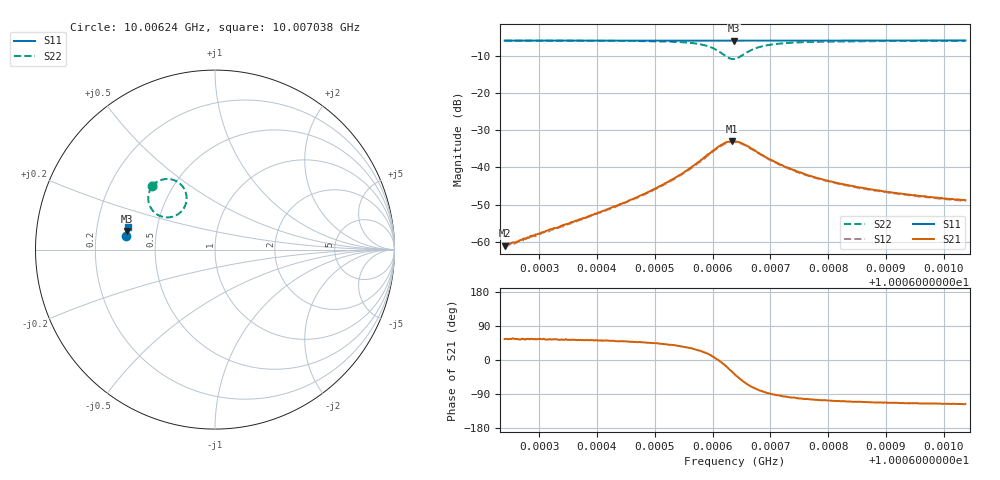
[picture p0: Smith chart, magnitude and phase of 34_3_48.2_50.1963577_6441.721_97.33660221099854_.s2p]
#  HZ  S  RI  R  50.00
! Rohde & Schwarz Vector Network Analyzer
! Rohde-Schwarz,ZNB20-2Port,1311601062101988,3.16
! Created: UTC 3/20/2024, 11:37:35 AM
! freq[Hz]  re:S11  im:S11  re:S21  im:S21  re:S12  im:S12  re:S22  im:S22
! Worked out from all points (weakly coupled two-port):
!   401 points, 10.00624 GHz to 10.007038 GHz, reference 50 ohm
!   highest |S21| = -32.98 dB at 10.006633 GHz (marker M1); lowest = -61.0 dB at 10.00624 GHz (marker M2)
!   lowest |S11| = -6.0 dB at 10.006637 GHz (marker M3), VSWR 3.00, Z = 16.8 + j4.59 ohm
!   |S11| at or under -10 dB: nowhere
!   |S22| runs from -11.0 to -6.0 dB; largest |S21 - S12| = 0.0015
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1.00062401e10  -0.4961 0.0778  0.000508 0.00073  0.000443 0.000754  -0.3519 0.3547
1.00062581e10  -0.4957 0.079  0.00056 0.000799  0.000518 0.000808  -0.3503 0.3562
1.0006278e10  -0.4956 0.0803  0.000635 0.000923  0.000567 0.000949  -0.3486 0.358
1.00063737e10  -0.4946 0.0867  0.00125 0.0016  0.00112 0.00165  -0.3371 0.3679
1.00064475e10  -0.4938 0.0915  0.00219 0.00256  0.00205 0.00258  -0.3226 0.3779
1.00065073e10  -0.4932 0.0954  0.004 0.00377  0.00373 0.00384  -0.3001 0.3881
1.00065472e10  -0.4925 0.0982  0.00669 0.00477  0.00632 0.00498  -0.2703 0.3935
1.00065891e10  -0.4915 0.101  0.0135 0.00436  0.0129 0.00496  -0.2062 0.3757
1.0006603e10  -0.4909 0.1017  0.017 0.00211  0.0165 0.00287  -0.1771 0.3468
1.0006615e10  -0.4904 0.1022  0.0198 -0.00188  0.0194 -0.00081  -0.1596 0.3034
1.00066329e10  -0.4899 0.1024  0.0195 -0.0111  0.0194 -0.00966  -0.182 0.219
1.00066369e10  -0.4899 0.1024  0.0182 -0.0131  0.0185 -0.0116  -0.197 0.2038
1.00066389e10  -0.49 0.1024  0.0176 -0.0139  0.0178 -0.0124  -0.2053 0.1976
1.00066549e10  -0.4905 0.103  0.0107 -0.0171  0.0113 -0.0163  -0.2775 0.18
1.00066688e10  -0.4908 0.1038  0.00556 -0.0166  0.00641 -0.0161  -0.3242 0.1969
1.00066848e10  -0.491 0.1049  0.00213 -0.0145  0.00282 -0.0143  -0.3528 0.225
1.00067167e10  -0.4909 0.1071  -0.000803 -0.0109  -0.000355 -0.0107  -0.3707 0.2688
1.00067466e10  -0.4908 0.1094  -0.00167 -0.0086  -0.00121 -0.00854  -0.3718 0.2939
1.00067725e10  -0.4904 0.1112  -0.00182 -0.00729  -0.00147 -0.00723  -0.3698 0.3083
1.00068403e10  -0.4897 0.1156  -0.00191 -0.0053  -0.00164 -0.00524  -0.3626 0.3307
1.00069061e10  -0.489 0.1198  -0.00183 -0.00428  -0.0016 -0.00425  -0.3562 0.3431
1.00070377e10  -0.4871 0.1283  -0.00157 -0.00325  -0.00141 -0.00325  -0.3457 0.3586
